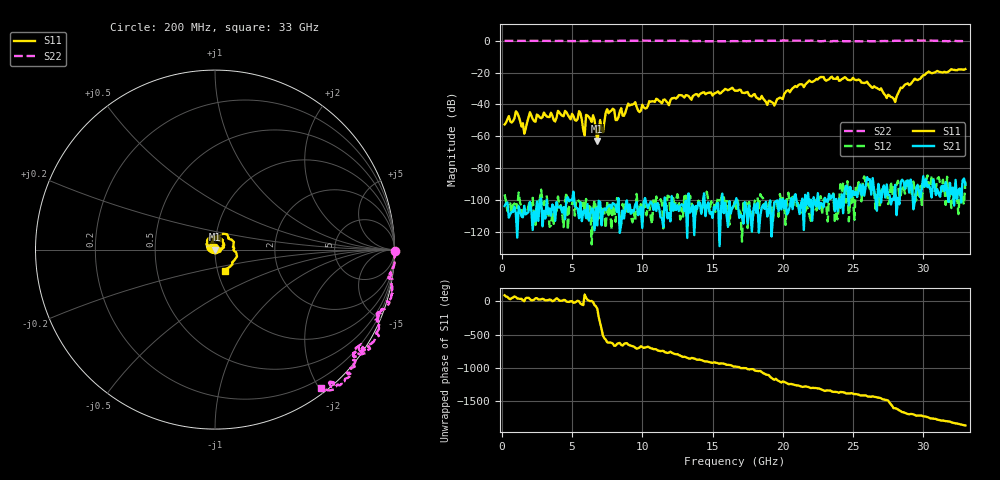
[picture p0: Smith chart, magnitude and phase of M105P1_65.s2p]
# GHZ S RI R 50
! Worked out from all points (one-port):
!   329 points, 200 MHz to 33 GHz, reference 50 ohm
!   lowest |S11| = -62.9 dB at 6.8 GHz (marker M1), VSWR 1.00, Z = 50 - j0.0662 ohm
!   |S11| at or under -10 dB: start of sweep to end of sweep
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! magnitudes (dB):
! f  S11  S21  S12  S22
! 200 MHz  -52.6  -103.9  -96.5  0.0
! 1 GHz  -44.3  -108.4  -100.8  0.0
! 1.6 GHz  -58.4  -103.7  -105.5  0.0
! 2 GHz  -44.9  -101.4  -100.5  0.1
! 5.7 GHz  -49.7  -113.4  -104.6  -0.1
! 5.9 GHz  -59.4  -106.4  -106.1  -0.1
! 6 GHz  -46.6  -111.5  -99.4  -0.1
! 6.5 GHz  -46.8  -106.1  -106.2  -0.1
! 6.8 GHz  -62.9  -116.1  -104.3  -0.1
! 7 GHz  -49.8  -101.3  -102.7  -0.1
! 7.2 GHz  -57.6  -107.2  -106.0  -0.1
! 7.5 GHz  -43.0  -104.7  -101.0  -0.2
! 8.2 GHz  -49.8  -107.6  -98.9  0.0
! 9 GHz  -39.4  -107.5  -102.0  0.0
! 11.2 GHz  -37.8  -105.2  -101.9  0.1
! 16.6 GHz  -31.4  -102.0  -99.9  -0.2
! 19.4 GHz  -40.6  -101.8  -101.8  0.0
! 22.1 GHz  -25.9  -113.1  -106.1  0.1
! 25 GHz  -23.2  -94.4  -98.6  -0.3
! 27.6 GHz  -34.4  -97.1  -100.6  0.0
! 30.4 GHz  -19.3  -90.8  -91.2  0.2
! 33 GHz  -17.8  -90.5  -88.4  -0.3
